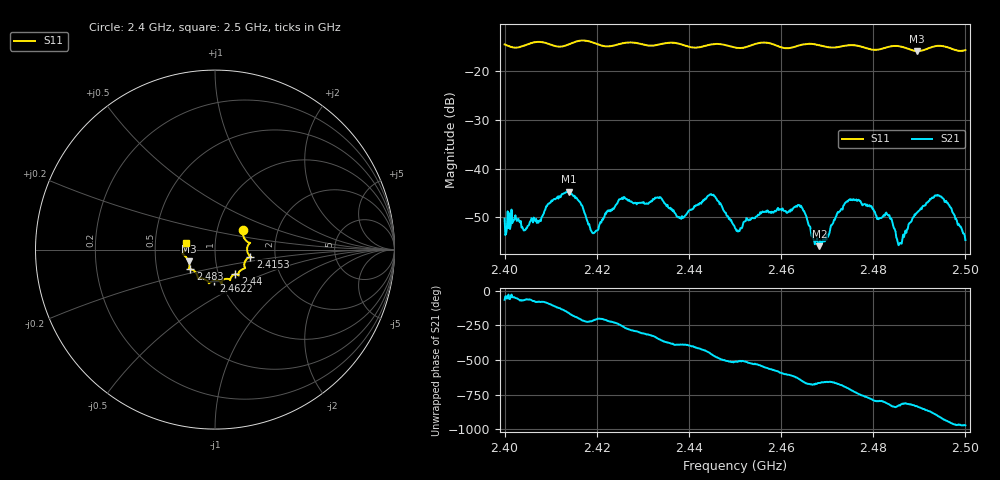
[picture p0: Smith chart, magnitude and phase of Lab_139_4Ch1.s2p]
# Hz S RI R 50
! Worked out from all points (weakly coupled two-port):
!   601 points, 2.4 GHz to 2.5 GHz, reference 50 ohm
!   highest |S21| = -44.74 dB at 2.414 GHz (marker M1); lowest = -55.9 dB at 2.4683 GHz (marker M2)
!   lowest |S11| = -15.9 dB at 2.4895 GHz (marker M3), VSWR 1.38, Z = 36.9 - j5.01 ohm
!   |S11| at or under -10 dB: start of sweep to end of sweep
!   S12 and S22 are empty: the file has one direction only
!   S11 on the Smith chart (normalised r, x): 2.4 GHz: 1.33, +0.29; 2.4153 GHz: 1.48, -0.12; 2.44 GHz: 1.20, -0.34; 2.4622 GHz: 0.93, -0.33; 2.483 GHz: 0.74, -0.17; 2.5 GHz: 0.72, +0.06
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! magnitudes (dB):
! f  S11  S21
! 2.4 GHz  -14.5  -50.3
! 2.4045 GHz  -14.7  -52.6
! 2.414 GHz  -14.5  -44.7
! 2.4153 GHz  -14.0  -46.1
! 2.4167 GHz  -13.7  -47.5
! 2.4193 GHz  -14.2  -53.3
! 2.4253 GHz  -14.3  -46.2
! 2.4333 GHz  -14.6  -45.9
! 2.44 GHz  -15.0  -48.6
! 2.4452 GHz  -14.5  -45.5
! 2.45 GHz  -15.1  -52.2
! 2.4622 GHz  -15.2  -48.4
! 2.4645 GHz  -14.6  -48.0
! 2.4667 GHz  -14.4  -53.9
! 2.4683 GHz  -14.7  -55.9
! 2.4748 GHz  -14.7  -46.4
! 2.483 GHz  -15.1  -49.4
! 2.4833 GHz  -15.0  -49.6
! 2.4858 GHz  -14.9  -55.2
! 2.4895 GHz  -15.9  -49.0
! 2.4945 GHz  -14.8  -45.7
! 2.5 GHz  -15.7  -54.7
